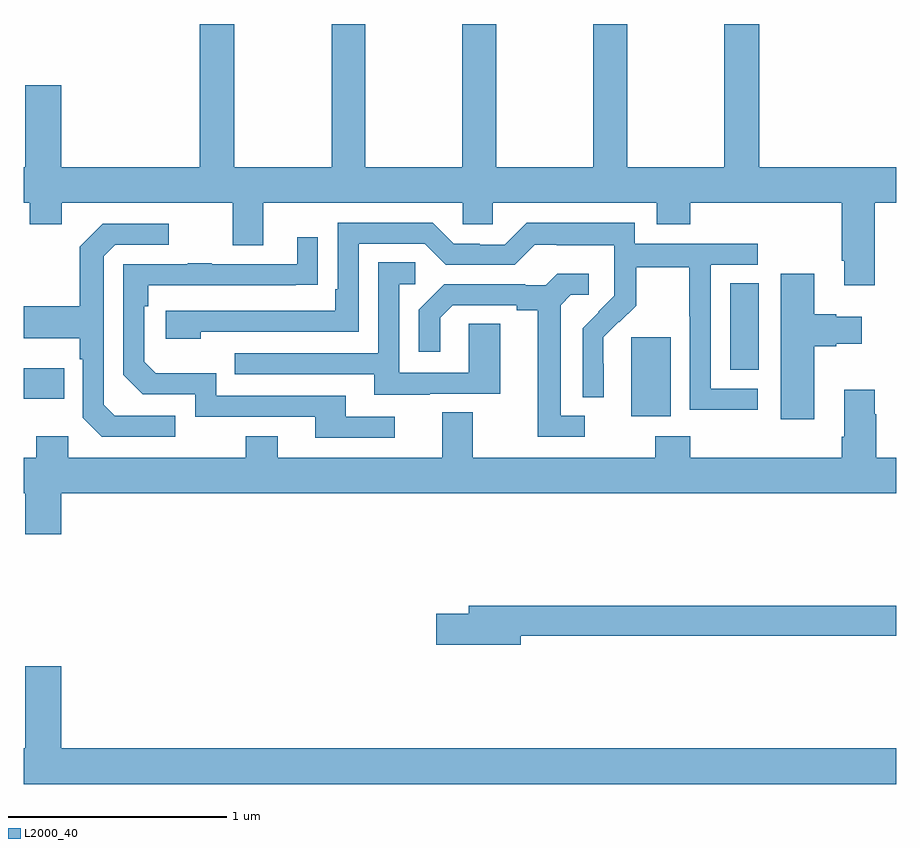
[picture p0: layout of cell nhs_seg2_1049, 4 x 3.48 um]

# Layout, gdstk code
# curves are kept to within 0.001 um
import gdstk
lib = gdstk.Library(unit=1e-6, precision=1e-09)
def R(c, l, rs):  # rectangles x0, y0, x1, y1
    for r in rs: c.add(gdstk.rectangle(r[:2], r[2:], *l))
def P(c, l, *ps):  # polygons
    for p in ps: c.add(gdstk.Polygon(p, *l))
L2000_40 = (2000, 40)

nhs_seg2_1049 = lib.new_cell('nhs_seg2_1049')
R(nhs_seg2_1049, L2000_40, [(167.786,636.002,167.965,636.363), (165,636.083,165.185,636.223), (168.239,636.214,168.37,636.611)])
P(nhs_seg2_1049, L2000_40, [(168.901,636.98),(169,636.98),(169,637.144),(168.371,637.144),(168.371,637.8),(168.211,637.8),(168.211,637.144),(167.766,637.144),(167.766,637.8),(167.611,637.8),(167.611,637.144),(167.166,637.144),(167.166,637.8),(167.011,637.8),(167.011,637.144),(166.566,637.144),(166.566,637.8),(166.411,637.8),(166.411,637.144),(165.966,637.144),(165.966,637.8),(165.806,637.8),(165.806,637.144),(165.172,637.144),(165.172,637.519),(165.008,637.519),(165.008,637.144),(165,637.144),(165,636.98),(165.028,636.98),(165.028,636.881),(165.175,636.881),(165.175,636.98),(165.959,636.98),(165.959,636.786),(166.099,636.786),(166.099,636.98),(167.013,636.98),(167.013,636.882),(167.151,636.882),(167.151,636.98),(167.903,636.98),(167.903,636.881),(168.056,636.881),(168.056,636.98),(168.749,636.98),(168.749,636.715),(168.761,636.715),(168.761,636.603),(168.901,636.603)],
  [(168.364,636.129),(168.15,636.129),(168.15,636.696),(168.364,636.696),(168.364,636.792),(167.802,636.792),(167.802,636.889),(167.305,636.889),(167.205,636.789),(167.09,636.789),(167.09,636.792),(166.971,636.792),(166.875,636.888),(166.44,636.888),(166.44,636.583),(166.427,636.583),(166.427,636.486),(165.651,636.486),(165.651,636.356),(165.812,636.356),(165.812,636.39),(166.536,636.39),(166.536,636.792),(166.839,636.792),(166.935,636.696),(167.25,636.696),(167.343,636.789),(167.443,636.789),(167.443,636.785),(167.706,636.785),(167.706,636.651),(167.708,636.651),(167.708,636.554),(167.562,636.406),(167.562,636.088),(167.658,636.088),(167.657,636.365),(167.727,636.435),(167.73,636.432),(167.807,636.509),(167.807,636.684),(168.052,636.684),(168.052,636.46),(168.054,636.46),(168.054,636.031),(168.364,636.031)],
  [(165.694,636.003),(165.417,636.003),(165.366,636.054),(165.366,636.735),(165.42,636.789),(165.664,636.789),(165.664,636.885),(165.363,636.885),(165.258,636.779),(165.258,636.507),(165.001,636.507),(165.001,636.359),(165.258,636.359),(165.258,636.263),(165.27,636.263),(165.27,635.994),(165.357,635.907),(165.694,635.907)],
  [(166.702,636),(166.477,636),(166.477,636.096),(165.882,636.096),(165.882,636.199),(165.605,636.199),(165.552,636.252),(165.552,636.506),(165.572,636.506),(165.572,636.603),(166.349,636.604),(166.349,636.823),(166.253,636.823),(166.253,636.699),(165.863,636.699),(165.863,636.704),(165.751,636.704),(165.751,636.699),(165.456,636.699),(165.456,636.192),(165.546,636.102),(165.786,636.102),(165.786,636),(166.337,636),(166.337,635.904),(166.702,635.904)],
  [(166.861,636.105),(167.185,636.105),(167.185,636.425),(167.04,636.425),(167.04,636.201),(166.722,636.201),(166.722,636.606),(166.795,636.606),(166.795,636.707),(166.626,636.707),(166.626,636.291),(165.967,636.291),(165.967,636.195),(166.607,636.195),(166.607,636.101),(166.861,636.101)],
  [(168.625,636.323),(168.725,636.323),(168.725,636.335),(168.841,636.335),(168.841,636.457),(168.725,636.457),(168.725,636.47),(168.625,636.47),(168.625,636.655),(168.47,636.655),(168.47,635.988),(168.625,635.988)],
  [(167.572,636.003),(167.461,636.003),(167.461,636.511),(167.508,636.558),(167.59,636.558),(167.59,636.655),(167.446,636.655),(167.394,636.603),(167.3,636.603),(167.3,636.606),(166.928,636.606),(166.812,636.49),(166.812,636.297),(166.909,636.297),(166.909,636.453),(166.966,636.51),(167.261,636.51),(167.261,636.488),(167.357,636.488),(167.357,635.907),(167.572,635.907)],
  [(165.172,635.648),(169,635.648),(169,635.812),(168.909,635.812),(168.909,636.011),(168.901,636.011),(168.901,636.124),(168.761,636.124),(168.761,635.908),(168.749,635.908),(168.749,635.812),(168.056,635.812),(168.056,635.911),(167.896,635.911),(167.896,635.812),(167.059,635.812),(167.059,636.02),(166.919,636.02),(166.919,635.812),(166.165,635.812),(166.165,635.911),(166.018,635.911),(166.018,635.812),(165.204,635.812),(165.204,635.911),(165.058,635.911),(165.058,635.812),(165,635.812),(165,635.648),(165.008,635.648),(165.008,635.46),(165.172,635.46)],
  [(167.278,634.996),(169,634.996),(169,635.132),(167.039,635.132),(167.039,635.096),(166.89,635.096),(166.89,634.954),(167.278,634.954)],
  [(169,634.48),(165.172,634.48),(165.172,634.855),(165.008,634.855),(165.008,634.48),(165,634.48),(165,634.316),(169,634.316)])

lib.write_gds('nhs_seg2_1049.gds')
